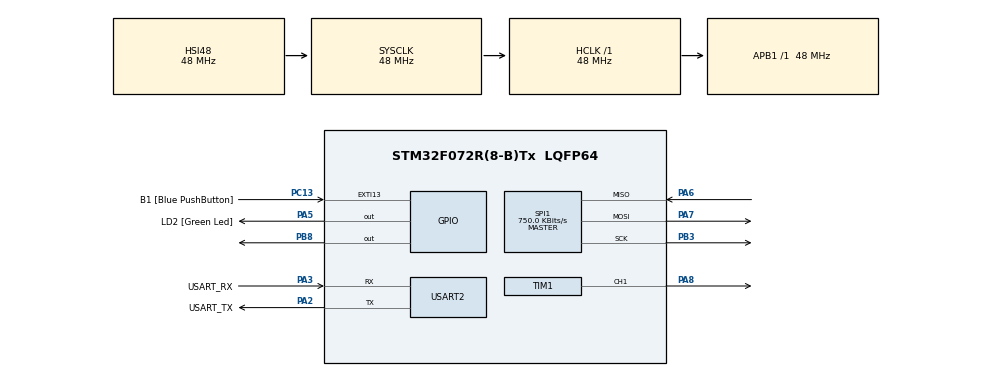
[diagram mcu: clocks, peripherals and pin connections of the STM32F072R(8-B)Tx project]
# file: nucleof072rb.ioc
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Mcu.Family=STM32F0
Mcu.Name=STM32F072R(8-B)Tx
Mcu.Package=LQFP64
PA13.GPIO_Label=TMS
PA13.Mode=Serial_Wire
PA13.Signal=SYS_SWDIO
PA14.GPIO_Label=TCK
PA14.Mode=Serial_Wire
PA14.Signal=SYS_SWCLK
PA2.GPIO_Label=USART_TX
PA2.GPIO_Mode=GPIO_MODE_AF_PP
PA2.GPIO_PuPd=GPIO_NOPULL
PA2.GPIO_Speed=GPIO_SPEED_FREQ_LOW
PA2.Mode=Asynchronous
PA2.Signal=USART2_TX
PA3.GPIO_Label=USART_RX
PA3.GPIO_Mode=GPIO_MODE_AF_PP
PA3.GPIO_PuPd=GPIO_NOPULL
PA3.GPIO_Speed=GPIO_SPEED_FREQ_LOW
PA3.Mode=Asynchronous
PA3.Signal=USART2_RX
PA5.GPIO_Label=LD2 [Green Led]
PA5.GPIO_Mode=GPIO_MODE_OUTPUT_PP
PA5.GPIO_PuPd=GPIO_NOPULL
PA5.GPIO_Speed=GPIO_SPEED_FREQ_LOW
PA5.Signal=GPIO_Output
PA6.Mode=Full_Duplex_Master
PA6.Signal=SPI1_MISO
PA7.Mode=Full_Duplex_Master
PA7.Signal=SPI1_MOSI
PA8.Signal=S_TIM1_CH1
PB3.Mode=Full_Duplex_Master
PB3.Signal=SPI1_SCK
PB8.Signal=GPIO_Output
PC13.GPIO_Label=B1 [Blue PushButton]
PC13.GPIO_ModeDefaultEXTI=GPIO_MODE_IT_FALLING
PC13.Signal=GPXTI13
PC14-OSC32_IN.Mode=LSE-External-Oscillator
PC14-OSC32_IN.Signal=RCC_OSC32_IN
PC15-OSC32_OUT.Mode=LSE-External-Oscillator
PC15-OSC32_OUT.Signal=RCC_OSC32_OUT
PF0-OSC_IN.Mode=HSE-External-Clock-Source
PF0-OSC_IN.Signal=RCC_OSC_IN
PF1-OSC_OUT.Signal=RCC_OSC_OUT
ProjectManager.HeapSize=0x200
ProjectManager.StackSize=0x400
ProjectManager.TargetToolchain=STM32CubeIDE
RCC.AHBFreq_Value=48000000
RCC.APB1Freq_Value=48000000
RCC.APB1TimFreq_Value=48000000
RCC.FLatency-AdvancedSettings=FLASH_LATENCY_1
RCC.HCLKFreq_Value=48000000
RCC.PLLDivider=RCC_PREDIV_DIV2
RCC.PLLMUL=RCC_PLL_MUL12
RCC.PREFETCH_ENABLE-AdvancedSettings=1
RCC.SYSCLKFreq_VALUE=48000000
RCC.SYSCLKSource=RCC_SYSCLKSOURCE_HSI48
SH.S_TIM1_CH1.0=TIM1_CH1,Output Compare1 CH1
SPI1.BaudRatePrescaler=SPI_BAUDRATEPRESCALER_64
SPI1.CLKPolarity=SPI_POLARITY_LOW
SPI1.CalculateBaudRate=750.0 KBits/s
SPI1.DataSize=SPI_DATASIZE_8BIT
SPI1.Direction=SPI_DIRECTION_2LINES
SPI1.Mode=SPI_MODE_MASTER
SPI1.VirtualType=VM_MASTER
TIM1.Channel-Output\ Compare1\ CH1=TIM_CHANNEL_1
USART2.VirtualMode=VM_ASYNC
USART2.VirtualMode-Asynchronous=VM_ASYNC
VP_TIM1_VS_ClockSourceINT.Mode=Internal
board=NUCLEO-F072RB

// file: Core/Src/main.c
/* USER CODE BEGIN Header */
/**
  ******************************************************************************
  * @file           : main.c
  * @brief          : Main program body
  ******************************************************************************
  * @attention
  *
  * <h2><center>&copy; Copyright (c) 2021 STMicroelectronics.
  * All rights reserved.</center></h2>
  *
  * This software component is licensed by ST under BSD 3-Clause license,
  * the "License"; You may not use this file except in compliance with the
  * License. You may obtain a copy of the License at:
  *                        opensource.org/licenses/BSD-3-Clause
  *
  ******************************************************************************
  */
/* USER CODE END Header */
#include "main.h"
#include "spi.h"
#include "tim.h"
#include "usart.h"
#include "gpio.h"

void SystemClock_Config(void);

int main(void)
{

  /* MCU Configuration--------------------------------------------------------*/

  /* Reset of all peripherals, Initializes the Flash interface and the Systick. */
  HAL_Init();

  /* Configure the system clock */
  SystemClock_Config();

  /* Initialize all configured peripherals */
  MX_GPIO_Init();
  MX_USART2_UART_Init();
  MX_SPI1_Init();
  MX_TIM1_Init();
  /* USER CODE BEGIN 2 */
  uint8_t recieved[3];
  uint8_t transmit[3];

  transmit[0]= 0b00000001;
  transmit[1]= 0b10000000;
  transmit[2]= 0b00000000;

  /* USER CODE END 2 */

  /* Infinite loop */
  /* USER CODE BEGIN WHILE */

  //initialize the timer
  HAL_TIM_PWM_Start(&htim1, TIM_CHANNEL_1);
  while (1)
  {
    /* USER CODE END WHILE */

    /* USER CODE BEGIN 3 */
	  // turn cs to low to start ADC
	  HAL_GPIO_WritePin(GPIOB, GPIO_PIN_8, GPIO_PIN_RESET);

	  //send and recieve at the same time for 3 bytes
	  HAL_StatusTypeDef status = HAL_SPI_TransmitReceive(&hspi1, transmit, recieved, sizeof(transmit), 100);

	  if (status == HAL_OK){
		  //set CS to high to end communicating with the ADC
		  HAL_GPIO_WritePin(GPIOB, GPIO_PIN_8, GPIO_PIN_SET);

		  // get recieved data from ADC
		  int ADC_value = ((recieved[1] & 0b00000011) << 8) + recieved[2];
		  //convert ADC value to duty cycle with range from 5-10%
		  int counter_period = 960000;
		  int adc_max = 1023;
		  int duty_cycle = ADC_value / (adc_max * (counter_period * 0.1 - counter_period * 0.05))  + (counter_period * 0.05);

		  //compare register with duty cycle value
		  __HAL_TIM_SET_COMPARE(&htim1, TIM_CHANNEL_1, duty_cycle);
	  }
	  else{
		  HAL_UART_Transmit(&huart2, status, sizeof(status), 100);
	  }

	  HAL_Delay(10);
  }
  /* USER CODE END 3 */
}

void SystemClock_Config(void)
{
  RCC_OscInitTypeDef RCC_OscInitStruct = {0};
  RCC_ClkInitTypeDef RCC_ClkInitStruct = {0};
  RCC_PeriphCLKInitTypeDef PeriphClkInit = {0};

  /** Initializes the RCC Oscillators according to the specified parameters
  * in the RCC_OscInitTypeDef structure.
  */
  RCC_OscInitStruct.OscillatorType = RCC_OSCILLATORTYPE_HSI48;
  RCC_OscInitStruct.HSI48State = RCC_HSI48_ON;
  RCC_OscInitStruct.PLL.PLLState = RCC_PLL_NONE;
  if (HAL_RCC_OscConfig(&RCC_OscInitStruct) != HAL_OK)
  {
    Error_Handler();
  }
  /** Initializes the CPU, AHB and APB buses clocks
  */
  RCC_ClkInitStruct.ClockType = RCC_CLOCKTYPE_HCLK|RCC_CLOCKTYPE_SYSCLK
                              |RCC_CLOCKTYPE_PCLK1;
  RCC_ClkInitStruct.SYSCLKSource = RCC_SYSCLKSOURCE_HSI48;
  RCC_ClkInitStruct.AHBCLKDivider = RCC_SYSCLK_DIV1;
  RCC_ClkInitStruct.APB1CLKDivider = RCC_HCLK_DIV1;

  if (HAL_RCC_ClockConfig(&RCC_ClkInitStruct, FLASH_LATENCY_1) != HAL_OK)
  {
    Error_Handler();
  }
  PeriphClkInit.PeriphClockSelection = RCC_PERIPHCLK_USART2;
  PeriphClkInit.Usart2ClockSelection = RCC_USART2CLKSOURCE_PCLK1;
  if (HAL_RCCEx_PeriphCLKConfig(&PeriphClkInit) != HAL_OK)
  {
    Error_Handler();
  }
}

void Error_Handler(void)
{
  __disable_irq();
  while (1)
  {
  }
}

/************************ (C) COPYRIGHT STMicroelectronics *****END OF FILE****/
